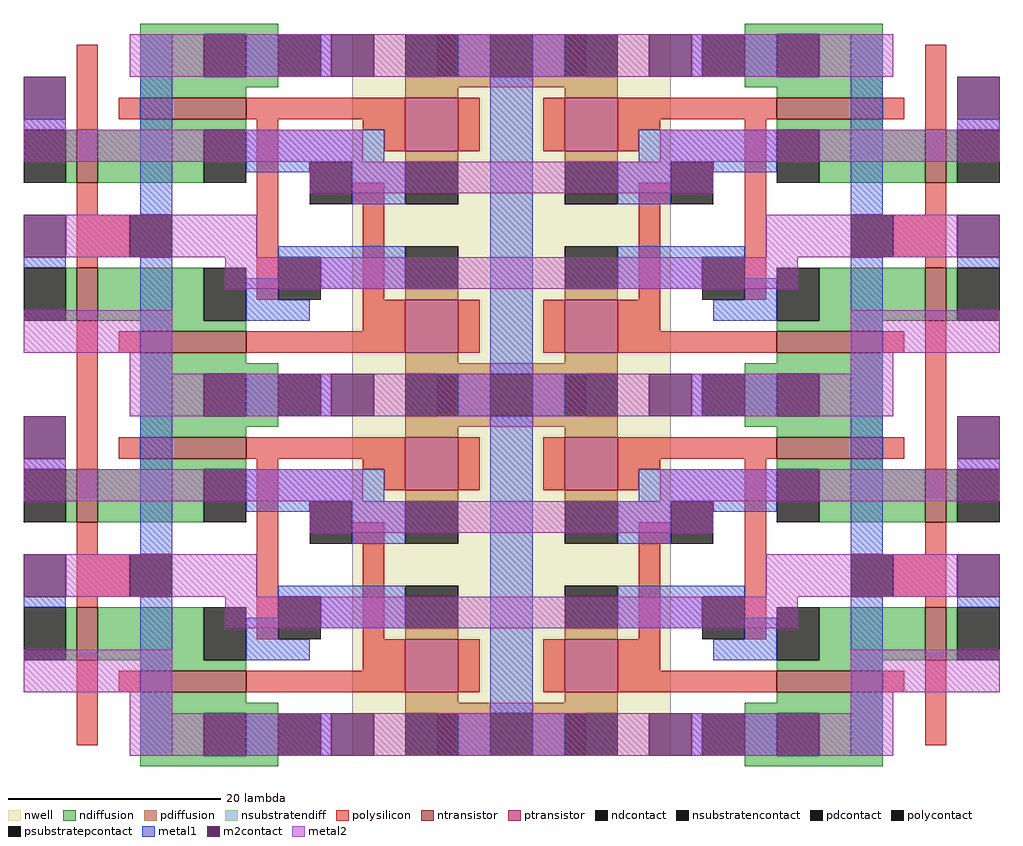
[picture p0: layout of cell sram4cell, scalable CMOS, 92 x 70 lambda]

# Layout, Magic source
magic
tech scmos
use sram sram_0
transform 0 1 0 -1 0 35
box -2 -2 36 51
use sram sram_2
transform 0 -1 88 -1 0 35
box -2 -2 36 51
use sram sram_1
transform 0 1 0 -1 0 3
box -2 -2 36 51
use sram sram_3
transform 0 -1 88 -1 0 3
box -2 -2 36 51
<< end >>

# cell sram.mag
magic
tech scmos
<< nwell >>
rect -1 29 35 46
<< polysilicon >>
rect 5 39 10 41
rect 24 39 29 41
rect 5 32 10 34
rect 24 32 29 34
rect 5 30 8 32
rect 13 30 29 32
rect 5 22 7 30
rect 13 29 15 30
rect 5 20 24 22
rect 5 19 7 20
rect 27 19 29 30
rect 5 7 7 9
rect 16 5 20 8
rect 27 7 29 9
rect 0 3 8 5
rect 13 3 21 5
rect 26 3 34 5
<< ndiffusion >>
rect -2 19 4 22
rect 30 19 36 22
rect -2 15 -1 19
rect 3 15 5 19
rect -2 9 5 15
rect 7 15 8 19
rect 7 9 13 15
rect 26 15 27 19
rect 8 5 13 9
rect 21 9 27 15
rect 29 15 31 19
rect 35 15 36 19
rect 29 9 36 15
rect 21 5 26 9
rect 8 2 13 3
rect 21 2 26 3
<< pdiffusion >>
rect -1 46 4 51
rect -1 39 4 42
rect 30 46 35 51
rect 30 39 35 42
rect 3 34 5 39
rect 10 34 11 39
rect 23 34 24 39
rect 29 34 31 39
<< metal1 >>
rect 3 42 31 46
rect -1 39 3 42
rect 31 39 35 42
rect 11 32 15 34
rect -1 26 3 27
rect -1 19 3 22
rect 8 29 15 32
rect 8 25 11 29
rect 19 26 23 34
rect 31 26 35 27
rect 8 19 12 25
rect 19 22 20 26
rect 24 22 26 25
rect 22 19 26 22
rect 31 19 35 22
rect -1 9 16 12
rect 20 9 35 12
rect 7 -2 8 2
rect 20 -2 21 2
<< metal2 >>
rect -1 42 4 46
rect -1 31 3 42
rect 11 30 14 46
rect -1 8 3 27
rect 8 25 14 30
rect 8 2 11 25
rect 20 20 23 46
rect 30 42 35 46
rect 7 -2 11 2
rect 16 17 23 20
rect 31 31 35 42
rect 16 2 20 17
rect 31 12 35 27
rect 25 8 35 12
rect 25 -2 29 8
<< ntransistor >>
rect 5 9 7 19
rect 27 9 29 19
rect 8 3 13 5
rect 21 3 26 5
<< ptransistor >>
rect 5 34 10 39
rect 24 34 29 39
<< polycontact >>
rect 11 25 15 29
rect 20 22 24 26
rect 16 8 20 12
<< ndcontact >>
rect -1 15 3 19
rect 8 15 13 19
rect 21 15 26 19
rect 31 15 35 19
rect 8 -2 13 2
rect 21 -2 26 2
<< pdcontact >>
rect -1 34 3 39
rect 11 34 15 39
rect 19 34 23 39
rect 31 34 35 39
<< m2contact >>
rect -1 27 3 31
rect 31 27 35 31
rect 3 -2 7 2
rect 16 -2 20 2
<< psubstratepcontact >>
rect -1 22 3 26
rect 31 22 35 26
<< nsubstratencontact >>
rect -1 42 3 46
rect 31 42 35 46
<< nsubstratendiff >>
rect 3 42 4 46
rect 30 42 31 46
<< labels >>
rlabel metal1 9 31 9 31 1 a
rlabel m2contact 1 29 1 29 1 gnda
rlabel metal2 21 40 21 40 1 bit_b
rlabel metal1 21 30 21 30 5 a_b
rlabel metal1 23 44 23 44 1 Vdd
rlabel m2contact 33 29 33 29 1 gnd
rlabel metal2 13 40 13 40 1 bit
<< end >>
